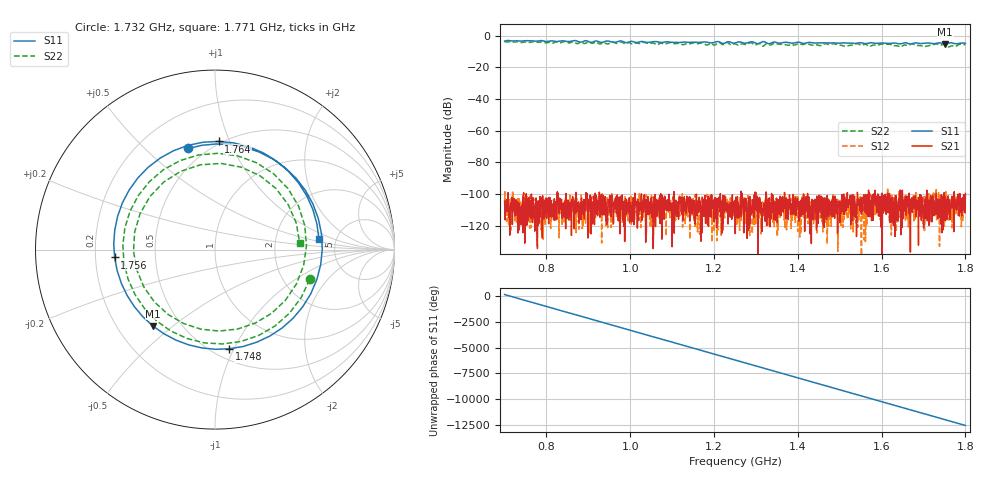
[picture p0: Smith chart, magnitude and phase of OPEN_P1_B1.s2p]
# Hz S RI R 50
! RAW DATA - UNCALIBRATED
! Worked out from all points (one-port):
!   1601 points, 700 MHz to 1.8 GHz, reference 50 ohm
!   lowest |S11| = -5.2 dB at 1.752 GHz (marker M1), VSWR 3.43, Z = 17.6 - j21.4 ohm
!   |S11| at or under -10 dB: nowhere
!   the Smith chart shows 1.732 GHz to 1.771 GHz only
!   S11 on the Smith chart (normalised r, x): 1.732 GHz: 0.40, +0.69; 1.748 GHz: 0.60, -0.96; 1.756 GHz: 0.28, -0.04; 1.764 GHz: 0.48, +0.91; 1.771 GHz: 3.66, +0.65
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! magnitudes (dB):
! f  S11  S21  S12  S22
! 700 MHz  -3.3  -104.4  -104.6  -3.7
! 883.6 MHz  -3.9  -102.4  -115.7  -3.9
! 1.067 GHz  -3.9  -109.4  -106.3  -5.3
! 1.25 GHz  -4.5  -104.1  -106.9  -5.1
! 1.287 GHz  -3.8  -112.9  -106.1  -4.3
! 1.317 GHz  -3.6  -109.5  -108.0  -6.6
! 1.434 GHz  -4.4  -103.3  -111.4  -5.9
! 1.486 GHz  -4.4  -103.5  -111.3  -5.1
! 1.514 GHz  -4.5  -103.8  -109.6  -6.6
! 1.542 GHz  -4.6  -104.9  -103.5  -4.9
! 1.572 GHz  -4.4  -114.4  -113.6  -6.7
! 1.617 GHz  -4.8  -102.9  -107.7  -5.3
! 1.644 GHz  -5.1  -101.1  -104.7  -6.9
! 1.673 GHz  -4.9  -102.5  -110.1  -5.1
! 1.703 GHz  -4.6  -103.7  -115.5  -6.7
! 1.732 GHz  -4.7  -104.2  -111.8  -5.1
! 1.748 GHz  -5.1  -105.7  -110.3  -5.4
! 1.752 GHz  -5.2  -117.0  -101.5  -5.7
! 1.756 GHz  -5.0  -104.1  -113.0  -6.6
! 1.764 GHz  -4.4  -105.8  -104.7  -6.6
! 1.771 GHz  -4.7  -104.4  -107.0  -6.5
! 1.8 GHz  -4.7  -99.6  -106.8  -5.7
